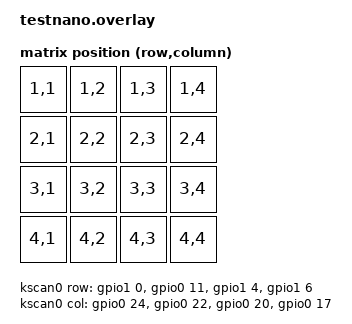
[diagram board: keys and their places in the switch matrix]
#include <dt-bindings/gpio/gpio.h>
#include <dt-bindings/zmk/matrix_transform.h>

/ {
    chosen {
        zmk,kscan = &kscan0;
        zmk,matrix_transform = &default_transform;
    };

    kscan0: kscan_0 {
        compatible = "zmk,kscan-gpio-matrix";
        label = "KSCAN";
        diode-direction = "col2row";

        col-gpios
               = <&gpio0 24 GPIO_ACTIVE_HIGH>
               , <&gpio0 22 GPIO_ACTIVE_HIGH>
               , <&gpio0 20 GPIO_ACTIVE_HIGH>
               , <&gpio0 17 GPIO_ACTIVE_HIGH>
               ;

        row-gpios
               = <&gpio1 0 (GPIO_ACTIVE_HIGH | GPIO_PULL_DOWN)>
               , <&gpio0 11 (GPIO_ACTIVE_HIGH | GPIO_PULL_DOWN)>
               , <&gpio1 4 (GPIO_ACTIVE_HIGH | GPIO_PULL_DOWN)>
               , <&gpio1 6 (GPIO_ACTIVE_HIGH | GPIO_PULL_DOWN)>
               ;
    };

    default_transform: keymap_transform_0 {
        compatible = "zmk,matrix-transform";
        columns = <4>;
        rows = <4>;
        map = <
                     RC(1,1) RC(1,2) RC(1,3) RC(1,4)               
                     RC(2,1) RC(2,2) RC(2,3) RC(2,4)               
                     RC(3,1) RC(3,2) RC(3,3) RC(3,4) 
                     RC(4,1) RC(4,2) RC(4,3) RC(4,4) 
              >;
    };
};
